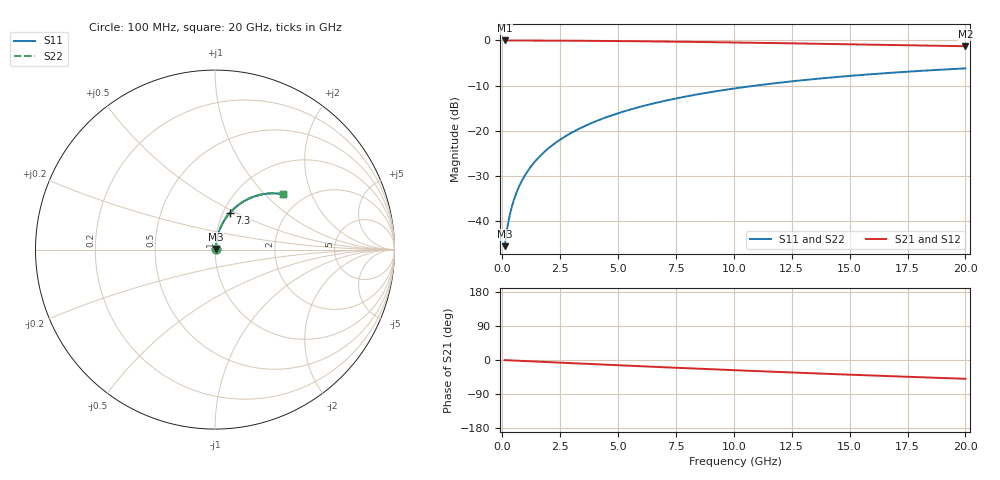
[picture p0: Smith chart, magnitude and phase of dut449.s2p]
! Touchstone file exported from HFSS 2026.1.0
!  File:  C:/ffzhzh/LocalFiles/Ansys_Project_Files/temp_train_BSMRDL_449_1783013249_4048.aedt
!  Generated:  01:29:17 AM Jul  3, 2026
!  Design:  BSMRDL
!  Project:  temp_train_BSMRDL_449_1783013249_4048
! Variables:
!  h_bsmrdl = 3.36um
!  h_ox = 20um
!  h_rdl = 5um
!  h_sub = 80um
!  h_tmrdl = 5um
!  h_tsv = 80um
!  h_via = 3um
!  l_bsmrdl = 706.01um
!  l_sub = 1106.01um
!  l_tmrdl = 200um
!  m_sub = 200um
!  pitch = 52.87um
!  r_tsv = 6um
!  s_tmrdl = 10um
!  w_bsmrdl = 19.2um
!  w_sub = 500um
!  w_tmrdl = 12um
!  x_tsv_center1 = 206um
!  x_tsv_center2 = 931.21um
!  x_tsv_center3 = 1143.21um
!  x_tsv_center4 = 1868.42um
!  x_tsv_center5 = 2080.42um
!  x_tsv_center6 = 2805.63um
# GHz S MA R 50.000000
! Terminal data exported
! Port[1] = BSM_RDL1_1_T1
! Port[2] = BSM_RDL1_1_T2
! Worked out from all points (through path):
!   200 points, 100 MHz to 20 GHz, reference 50 ohm
!   highest |S21| = -0.04 dB at 100 MHz (marker M1); lowest = -1.3 dB at 20 GHz (marker M2)
!   group delay of S21, straight-line fit = 6.9 ps
!   lowest |S11| = -45.5 dB at 100 MHz (marker M3), VSWR 1.01, Z = 50.4 + j0.343 ohm
!   |S11| at or under -10 dB: start of sweep to 10.97 GHz
!   |S22| runs from -45.5 to -6.2 dB; largest |S21 - S12| = 3.3e-15
!   S11 on the Smith chart (normalised r, x): 100 MHz: 1.01, +0.01; 7.3 GHz: 1.08, +0.47; 20 GHz: 1.59, +1.29
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0.1  0.005281 40.1  0.996 -0.3  0.996 -0.3  0.005281 40.1
! Gamma 0 0 0 0
! Port Impedance 50 0 50 0
0.2  0.00796 58.0  0.9958 -0.6  0.9958 -0.6  0.00796 58.0
0.3  0.01097 66.1  0.9956 -0.9  0.9956 -0.9  0.01097 66.1
0.4  0.01406 70.4  0.9955 -1.2  0.9955 -1.2  0.01406 70.4
0.5  0.01716 73.1  0.9953 -1.4  0.9953 -1.4  0.01716 73.1
0.6  0.02026 74.9  0.9951 -1.7  0.9951 -1.7  0.02026 74.9
0.8  0.02648 77.2  0.9948 -2.3  0.9948 -2.3  0.02648 77.2
1.1  0.03585 78.8  0.9944 -3.1  0.9944 -3.1  0.03585 78.8
1.5  0.04839 79.6  0.9937 -4.2  0.9937 -4.2  0.04839 79.6
1.8  0.05781 79.7  0.9931 -5.1  0.9931 -5.1  0.05781 79.7
2.1  0.06721 79.5  0.9924 -5.9  0.9924 -5.9  0.06721 79.5
2.7  0.08594 78.7  0.9907 -7.6  0.9907 -7.6  0.08594 78.7
3.5  0.1107 77.1  0.9878 -9.8  0.9878 -9.8  0.1107 77.1
4.2  0.132 75.5  0.9848 -11.7  0.9848 -11.7  0.132 75.5
5  0.1559 73.6  0.9809 -13.8  0.9809 -13.8  0.1559 73.6
6.8  0.2079 69.1  0.9702 -18.6  0.9702 -18.6  0.2079 69.2
7.3  0.2218 67.9  0.9668 -20.0  0.9668 -20.0  0.2218 67.9
8.6  0.2568 64.7  0.9574 -23.3  0.9574 -23.3  0.2568 64.7
10.1  0.2951 61.0  0.9457 -27.1  0.9457 -27.1  0.2951 61.0
13.4  0.3711 53.2  0.9176 -35.1  0.9176 -35.1  0.3711 53.3
16.7  0.4356 45.9  0.8884 -42.6  0.8884 -42.6  0.4356 45.9
20  0.4891 39.0  0.8602 -49.6  0.8602 -49.6  0.4891 39.1
